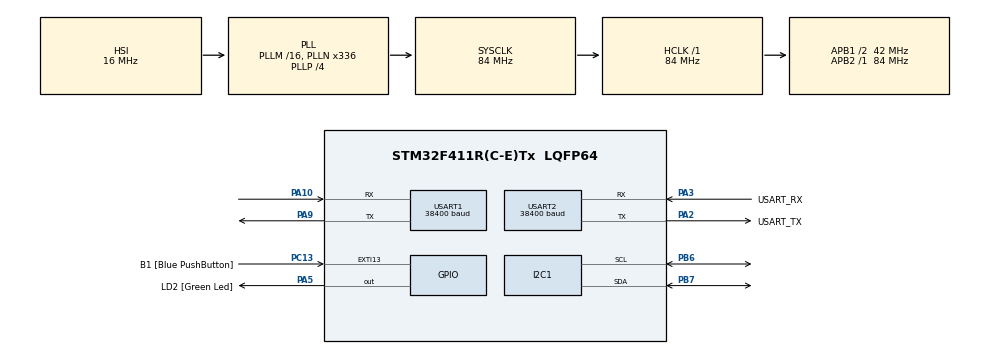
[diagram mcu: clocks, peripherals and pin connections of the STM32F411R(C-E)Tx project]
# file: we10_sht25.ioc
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Mcu.Family=STM32F4
Mcu.Name=STM32F411R(C-E)Tx
Mcu.Package=LQFP64
NVIC.PriorityGroup=NVIC_PRIORITYGROUP_0
PA10.Mode=Asynchronous
PA10.Signal=USART1_RX
PA13.GPIO_Label=TMS
PA13.Mode=Serial_Wire
PA13.Signal=SYS_JTMS-SWDIO
PA14.GPIO_Label=TCK
PA14.Mode=Serial_Wire
PA14.Signal=SYS_JTCK-SWCLK
PA2.GPIO_Label=USART_TX
PA2.Mode=Asynchronous
PA2.Signal=USART2_TX
PA3.GPIO_Label=USART_RX
PA3.Mode=Asynchronous
PA3.Signal=USART2_RX
PA5.GPIO_Label=LD2 [Green Led]
PA5.Signal=GPIO_Output
PA9.Mode=Asynchronous
PA9.Signal=USART1_TX
PB3.GPIO_Label=SWO
PB3.Signal=SYS_JTDO-SWO
PB6.Mode=I2C
PB6.Signal=I2C1_SCL
PB7.Mode=I2C
PB7.Signal=I2C1_SDA
PC13-ANTI_TAMP.GPIO_Label=B1 [Blue PushButton]
PC13-ANTI_TAMP.GPIO_ModeDefaultEXTI=GPIO_MODE_IT_FALLING
PC13-ANTI_TAMP.Signal=GPXTI13
PC14-OSC32_IN.Mode=LSE-External-Oscillator
PC14-OSC32_IN.Signal=RCC_OSC32_IN
PC15-OSC32_OUT.Mode=LSE-External-Oscillator
PC15-OSC32_OUT.Signal=RCC_OSC32_OUT
PH0\ -\ OSC_IN.Mode=HSE-External-Clock-Source
PH0\ -\ OSC_IN.Signal=RCC_OSC_IN
PH1\ -\ OSC_OUT.Mode=HSE-External-Clock-Source
PH1\ -\ OSC_OUT.Signal=RCC_OSC_OUT
ProjectManager.HeapSize=0x200
ProjectManager.StackSize=0x400
ProjectManager.TargetToolchain=STM32CubeIDE
RCC.48MHZClocksFreq_Value=84000000
RCC.AHBFreq_Value=84000000
RCC.APB1CLKDivider=RCC_HCLK_DIV2
RCC.APB1Freq_Value=42000000
RCC.APB1TimFreq_Value=84000000
RCC.APB2Freq_Value=84000000
RCC.APB2TimFreq_Value=84000000
RCC.CortexFreq_Value=84000000
RCC.FLatency-AdvancedSettings=FLASH_LATENCY_2
RCC.HCLKFreq_Value=84000000
RCC.HSE_VALUE=8000000
RCC.HSI_VALUE=16000000
RCC.PLLN=336
RCC.PLLP=RCC_PLLP_DIV4
RCC.SYSCLKFreq_VALUE=84000000
RCC.SYSCLKSource=RCC_SYSCLKSOURCE_PLLCLK
RCC.VCOOutputFreq_Value=336000000
USART1.BaudRate=38400
USART1.VirtualMode=VM_ASYNC
USART2.BaudRate=38400
USART2.VirtualMode=VM_ASYNC
board=NUCLEO-F411RE

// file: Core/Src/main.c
/* USER CODE BEGIN Header */
/**
  ******************************************************************************
  * @file           : main.c
  * @brief          : Main program body
  ******************************************************************************
  * @attention
  *
  * Copyright (c) 2024 STMicroelectronics.
  * All rights reserved.
  *
  * This software is licensed under terms that can be found in the LICENSE file
  * in the root directory of this software component.
  * If no LICENSE file comes with this software, it is provided AS-IS.
  *
  ******************************************************************************
  */
/* USER CODE END Header */
#include "main.h"
#include <stdio.h>
#include <string.h>

I2C_HandleTypeDef hi2c1;

UART_HandleTypeDef huart1;
UART_HandleTypeDef huart2;

/* USER CODE BEGIN PV */
float temperature = 0.0;  // Initialize to a default value
float humidity = 0.0;
/* USER CODE END PV */
#define SHT25_I2C_ADDRESS 0x40

void SystemClock_Config(void);
static void MX_GPIO_Init(void);
static void MX_USART2_UART_Init(void);
static void MX_I2C1_Init(void);
static void MX_USART1_UART_Init(void);
/* USER CODE BEGIN PFP */
void WE10_Init (char *, char *);
void MQTT_Init(void);
void mqtt_data_send(float temperature, float humidity);
/* USER CODE END PFP */
int __io_putchar(int ch) {
    ITM_SendChar(ch);
    return ch;
}
float SHT25_ReadTemperature(void) {
    uint8_t command = 0xE3;  // Command to read temperature
    uint8_t data[2];

    HAL_I2C_Master_Transmit(&hi2c1, SHT25_I2C_ADDRESS << 1, &command, 1, HAL_MAX_DELAY);  // Send command
    HAL_I2C_Master_Receive(&hi2c1, SHT25_I2C_ADDRESS << 1, data, 2, HAL_MAX_DELAY);       // Receive data

    uint16_t tempRaw = (data[0] << 8) | data[1];
    tempRaw &= ~0x0003;  // Clear status bits
    float temperature = -46.85 + (175.72 * (float)tempRaw / 65536.0);
    return temperature;
}

/* Read humidity from SHT25 sensor */
float SHT25_ReadHumidity(void) {
    uint8_t command = 0xE5;  // Command to read humidity
    uint8_t data[2];

    HAL_I2C_Master_Transmit(&hi2c1, SHT25_I2C_ADDRESS << 1, &command, 1, HAL_MAX_DELAY);  // Send command
    HAL_I2C_Master_Receive(&hi2c1, SHT25_I2C_ADDRESS << 1, data, 2, HAL_MAX_DELAY);       // Receive data

    uint16_t humRaw = (data[0] << 8) | data[1];
    humRaw &= ~0x0003;  // Clear status bits
    float humidity = -6.0 + (125.0 * (float)humRaw / 65536.0);
    return humidity;
}
/* USER CODE BEGIN 0 */
void WE10_Init (char *SSID, char *PASSWD)
{
	char buffer[128];
	/* CMD+RESET **/
	//memset(&buffer[0],0x00,strlen(buffer));
	sprintf (&buffer[0], "CMD+RESET\r\n");
	HAL_UART_Transmit(&huart1, (uint8_t*)buffer, strlen(buffer), 1000);
	HAL_UART_Transmit(&huart2, (uint8_t*)buffer, strlen(buffer), 1000);

	HAL_UART_Receive(&huart1, (uint8_t*)buffer, strlen(buffer), 1000);
	HAL_UART_Transmit(&huart2, (uint8_t*)buffer, strlen(buffer), 1000);

	/*  CMD+WIFIMODE=1  **/
	//memset(&buffer[0],0x00,strlen(buffer));
	sprintf (&buffer[0], "CMD+WIFIMODE=1\r\n");
	HAL_UART_Transmit(&huart1, (uint8_t*)buffer, strlen(buffer), 1000);
	HAL_UART_Transmit(&huart2, (uint8_t*)buffer, strlen(buffer), 1000);

	HAL_UART_Receive(&huart1, (uint8_t*)buffer, strlen(buffer), 1000);
	HAL_UART_Transmit(&huart2, (uint8_t*)buffer, strlen(buffer), 1000);

	/* CMD+CONTOAP=SSID,PASSWD **/
	//memset(&buffer[0],0x00,strlen(buffer));
	sprintf (&buffer[0], "CMD+CONTOAP=%s,%s\r\n", SSID, PASSWD);
	HAL_UART_Transmit(&huart1, (uint8_t*)buffer, strlen(buffer), 10000);
	HAL_UART_Transmit(&huart2, (uint8_t*)buffer, strlen(buffer), 10000);
	//memset(&buffer[0],0x00,strlen(buffer));
	HAL_Delay(2000);
	HAL_UART_Receive(&huart1, (uint8_t*)buffer, strlen(buffer), 10000);
	HAL_Delay(500);
	HAL_UART_Transmit(&huart2, (uint8_t*)buffer, strlen(buffer), 10000);

	/* CMD?WIFI**/
	//memset(&buffer[0],0x00,strlen(buffer));
	sprintf (&buffer[0], "CMD?WIFI\r\n");
	HAL_UART_Transmit(&huart1, (uint8_t*)buffer, strlen(buffer), 10000);
	HAL_UART_Transmit(&huart2, (uint8_t*)buffer, strlen(buffer), 10000);
//	memset(&buffer[0],0x00,strlen(buffer));
//	HAL_Delay(500);
	HAL_UART_Receive(&huart1, (uint8_t*)buffer, strlen(buffer), 10000);
	HAL_Delay(500);
	HAL_UART_Transmit(&huart2, (uint8_t*)buffer, strlen(buffer), 10000);

}

void MQTT_Init()
{

	char buffer[128];

	/*CMD+MQTTNETCFG **/
	//memset(&buffer[0],0x00,strlen(buffer));
	sprintf (&buffer[0], "CMD+MQTTNETCFG=dev.rightech.io,1883\r\n");
	HAL_UART_Transmit(&huart1, (uint8_t*)buffer, strlen(buffer), 10000);
	HAL_UART_Transmit(&huart2, (uint8_t*)buffer, strlen(buffer), 10000);
	//memset(&buffer[0],0x00,strlen(buffer));
	//HAL_Delay(500);
	HAL_UART_Receive(&huart1, (uint8_t*)buffer, strlen(buffer), 10000);
	HAL_Delay(500);
	HAL_UART_Transmit(&huart2, (uint8_t*)buffer, strlen(buffer), 10000);

	/*CMD+MQTTCONCFG---->LED **/
	//memset(&buffer[0],0x00,strlen(buffer));
	sprintf (&buffer[0], "CMD+MQTTCONCFG=3,mqtt-saikumarsunny2002-0u3ptb,,,,,,,,,\r\n");
	HAL_UART_Transmit(&huart1, (uint8_t*)buffer, strlen(buffer), 1000);
	HAL_UART_Transmit(&huart2, (uint8_t*)buffer, strlen(buffer), 1000);
	//memset(&buffer[0],0x00,strlen(buffer));
	//HAL_Delay(500);
	HAL_UART_Receive(&huart1, (uint8_t*)buffer, strlen(buffer), 1000);
	HAL_Delay(500);
	HAL_UART_Transmit(&huart2, (uint8_t*)buffer, strlen(buffer), 1000);

	/*CMD+MQTTSTART **/
	//memset(&buffer[0],0x00,strlen(buffer));
	sprintf (&buffer[0], "CMD+MQTTSTART=1\r\n");
	HAL_UART_Transmit(&huart1, (uint8_t*)buffer, strlen(buffer), 1000);
	HAL_UART_Transmit(&huart2, (uint8_t*)buffer, strlen(buffer), 1000);
//	memset(&buffer[0],0x00,strlen(buffer));
	HAL_Delay(5000);
	HAL_UART_Receive(&huart1, (uint8_t*)buffer, strlen(buffer), 1000);
	HAL_Delay(500);
	HAL_UART_Transmit(&huart2, (uint8_t*)buffer, strlen(buffer), 1000);

	/*CMD+MQTTSUB ***/
	//memset(&buffer[0],0x00,strlen(buffer));
	sprintf (&buffer[0], "CMD+MQTTSUB=base/relay/led1\r\n");
	HAL_UART_Transmit(&huart1, (uint8_t*)buffer, strlen(buffer), 1000);
	HAL_UART_Transmit(&huart2, (uint8_t*)buffer, strlen(buffer), 1000);
	HAL_Delay(500);
	HAL_UART_Receive(&huart1, (uint8_t*)buffer, strlen(buffer), 1000);
	HAL_UART_Transmit(&huart2, (uint8_t*)buffer, strlen(buffer), 1000);

}

/* USER CODE END 0 */
void mqtt_data_send(float temperature, float humidity) {
    char buffer[100]; // Increase size to accommodate both temperature and humidity
    sprintf(buffer, "CMD+MQTTPUB=base/state/temperature,%.2f,base/state/humidity,%.2f\r\n", temperature, humidity);
    HAL_UART_Transmit(&huart1, (uint8_t*)buffer, strlen(buffer), 1000);
    printf("%s", buffer); // Print for debugging
}

int main(void)
{

  /* MCU Configuration--------------------------------------------------------*/

  /* Reset of all peripherals, Initializes the Flash interface and the Systick. */
  HAL_Init();

  /* Configure the system clock */
  SystemClock_Config();

  /* Initialize all configured peripherals */
  MX_GPIO_Init();
  MX_USART2_UART_Init();
  MX_I2C1_Init();
  MX_USART1_UART_Init();
  /* USER CODE BEGIN 2 */
  WE10_Init("VIVO","12345678");
    MQTT_Init();
  /* USER CODE END 2 */

  /* Infinite loop */
  while (1)
  {
	  temperature = SHT25_ReadTemperature();
	          humidity = SHT25_ReadHumidity();
	          mqtt_data_send(temperature, humidity);

	          // Format and transmit temperature and humidity over UART
	          printf("Temperature: %.2f C, Humidity: %.2f%%\n", temperature, humidity);
	          HAL_Delay(5000);
  }
}

void SystemClock_Config(void)
{
  RCC_OscInitTypeDef RCC_OscInitStruct = {0};
  RCC_ClkInitTypeDef RCC_ClkInitStruct = {0};

  /** Configure the main internal regulator output voltage
  */
  __HAL_RCC_PWR_CLK_ENABLE();
  __HAL_PWR_VOLTAGESCALING_CONFIG(PWR_REGULATOR_VOLTAGE_SCALE1);

  /** Initializes the RCC Oscillators according to the specified parameters
  * in the RCC_OscInitTypeDef structure.
  */
  RCC_OscInitStruct.OscillatorType = RCC_OSCILLATORTYPE_HSI;
  RCC_OscInitStruct.HSIState = RCC_HSI_ON;
  RCC_OscInitStruct.HSICalibrationValue = RCC_HSICALIBRATION_DEFAULT;
  RCC_OscInitStruct.PLL.PLLState = RCC_PLL_ON;
  RCC_OscInitStruct.PLL.PLLSource = RCC_PLLSOURCE_HSI;
  RCC_OscInitStruct.PLL.PLLM = 16;
  RCC_OscInitStruct.PLL.PLLN = 336;
  RCC_OscInitStruct.PLL.PLLP = RCC_PLLP_DIV4;
  RCC_OscInitStruct.PLL.PLLQ = 4;
  if (HAL_RCC_OscConfig(&RCC_OscInitStruct) != HAL_OK)
  {
    Error_Handler();
  }

  /** Initializes the CPU, AHB and APB buses clocks
  */
  RCC_ClkInitStruct.ClockType = RCC_CLOCKTYPE_HCLK|RCC_CLOCKTYPE_SYSCLK
                              |RCC_CLOCKTYPE_PCLK1|RCC_CLOCKTYPE_PCLK2;
  RCC_ClkInitStruct.SYSCLKSource = RCC_SYSCLKSOURCE_PLLCLK;
  RCC_ClkInitStruct.AHBCLKDivider = RCC_SYSCLK_DIV1;
  RCC_ClkInitStruct.APB1CLKDivider = RCC_HCLK_DIV2;
  RCC_ClkInitStruct.APB2CLKDivider = RCC_HCLK_DIV1;

  if (HAL_RCC_ClockConfig(&RCC_ClkInitStruct, FLASH_LATENCY_2) != HAL_OK)
  {
    Error_Handler();
  }
}

static void MX_I2C1_Init(void)
{

  hi2c1.Instance = I2C1;
  hi2c1.Init.ClockSpeed = 100000;
  hi2c1.Init.DutyCycle = I2C_DUTYCYCLE_2;
  hi2c1.Init.OwnAddress1 = 0;
  hi2c1.Init.AddressingMode = I2C_ADDRESSINGMODE_7BIT;
  hi2c1.Init.DualAddressMode = I2C_DUALADDRESS_DISABLE;
  hi2c1.Init.OwnAddress2 = 0;
  hi2c1.Init.GeneralCallMode = I2C_GENERALCALL_DISABLE;
  hi2c1.Init.NoStretchMode = I2C_NOSTRETCH_DISABLE;
  if (HAL_I2C_Init(&hi2c1) != HAL_OK)
  {
    Error_Handler();
  }

}

static void MX_USART1_UART_Init(void)
{

  huart1.Instance = USART1;
  huart1.Init.BaudRate = 38400;
  huart1.Init.WordLength = UART_WORDLENGTH_8B;
  huart1.Init.StopBits = UART_STOPBITS_1;
  huart1.Init.Parity = UART_PARITY_NONE;
  huart1.Init.Mode = UART_MODE_TX_RX;
  huart1.Init.HwFlowCtl = UART_HWCONTROL_NONE;
  huart1.Init.OverSampling = UART_OVERSAMPLING_16;
  if (HAL_UART_Init(&huart1) != HAL_OK)
  {
    Error_Handler();
  }

}

static void MX_USART2_UART_Init(void)
{

  huart2.Instance = USART2;
  huart2.Init.BaudRate = 38400;
  huart2.Init.WordLength = UART_WORDLENGTH_8B;
  huart2.Init.StopBits = UART_STOPBITS_1;
  huart2.Init.Parity = UART_PARITY_NONE;
  huart2.Init.Mode = UART_MODE_TX_RX;
  huart2.Init.HwFlowCtl = UART_HWCONTROL_NONE;
  huart2.Init.OverSampling = UART_OVERSAMPLING_16;
  if (HAL_UART_Init(&huart2) != HAL_OK)
  {
    Error_Handler();
  }

}

static void MX_GPIO_Init(void)
{
  GPIO_InitTypeDef GPIO_InitStruct = {0};

  /* GPIO Ports Clock Enable */
  __HAL_RCC_GPIOC_CLK_ENABLE();
  __HAL_RCC_GPIOH_CLK_ENABLE();
  __HAL_RCC_GPIOA_CLK_ENABLE();
  __HAL_RCC_GPIOB_CLK_ENABLE();

  /*Configure GPIO pin Output Level */
  HAL_GPIO_WritePin(LD2_GPIO_Port, LD2_Pin, GPIO_PIN_RESET);

  /*Configure GPIO pin : B1_Pin */
  GPIO_InitStruct.Pin = B1_Pin;
  GPIO_InitStruct.Mode = GPIO_MODE_IT_FALLING;
  GPIO_InitStruct.Pull = GPIO_NOPULL;
  HAL_GPIO_Init(B1_GPIO_Port, &GPIO_InitStruct);

  /*Configure GPIO pin : LD2_Pin */
  GPIO_InitStruct.Pin = LD2_Pin;
  GPIO_InitStruct.Mode = GPIO_MODE_OUTPUT_PP;
  GPIO_InitStruct.Pull = GPIO_NOPULL;
  GPIO_InitStruct.Speed = GPIO_SPEED_FREQ_LOW;
  HAL_GPIO_Init(LD2_GPIO_Port, &GPIO_InitStruct);

}

void Error_Handler(void)
{
  __disable_irq();
  while (1)
  {
  }
}
